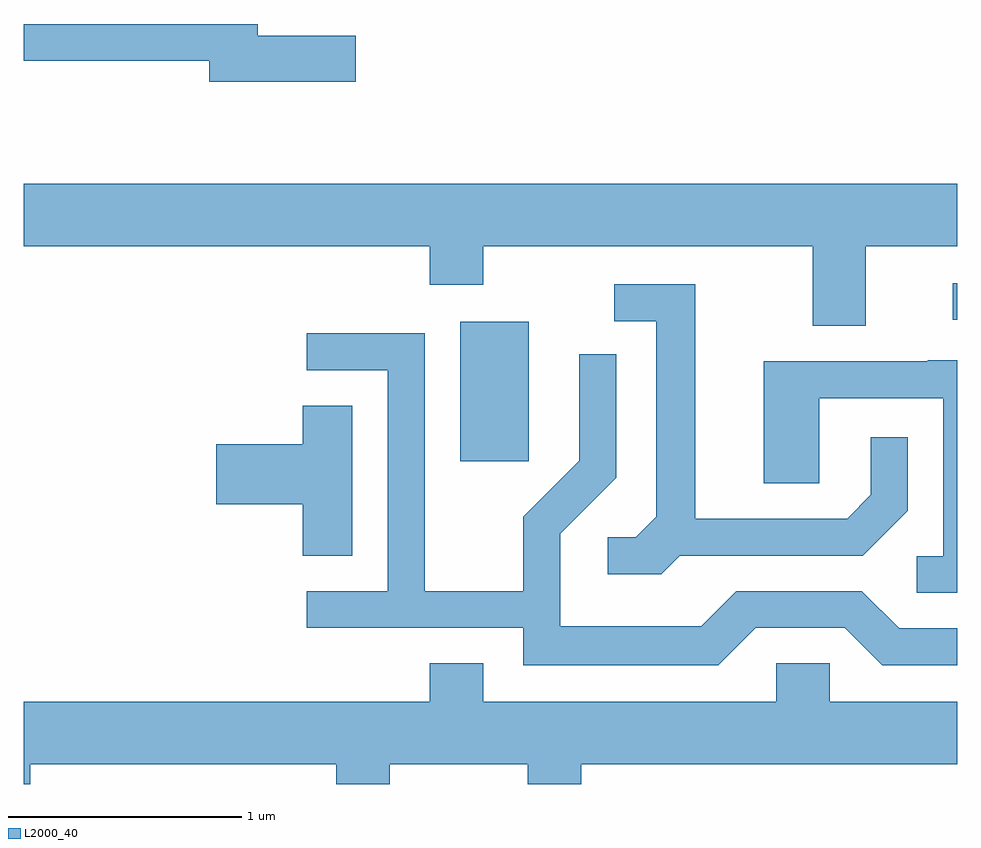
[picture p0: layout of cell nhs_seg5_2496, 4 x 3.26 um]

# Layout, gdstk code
import gdstk
lib = gdstk.Library(unit=1e-6, precision=1e-09)
def R(c, l, rs):  # rectangles x0, y0, x1, y1
    for r in rs: c.add(gdstk.rectangle(r[:2], r[2:], *l))
def P(c, l, *ps):  # polygons
    for p in ps: c.add(gdstk.Polygon(p, *l))
L2000_40 = (2000, 40)

nhs_seg5_2496 = lib.new_cell('nhs_seg5_2496')
R(nhs_seg5_2496, L2000_40, [(261.481,1431.456,261.774,1432.054), (263.593,1432.061,263.611,1432.219)])
P(nhs_seg5_2496, L2000_40, [(261.034,1433.279),(260.614,1433.279),(260.614,1433.329),(259.611,1433.329),(259.611,1433.171),(260.406,1433.171),(260.406,1433.081),(261.034,1433.081)],
  [(263.219,1432.376),(263.611,1432.376),(263.611,1432.644),(259.611,1432.644),(259.611,1432.376),(261.351,1432.376),(261.351,1432.211),(261.579,1432.211),(261.579,1432.376),(262.991,1432.376),(262.991,1432.036),(263.219,1432.036)],
  [(262.422,1431.051),(263.207,1431.051),(263.399,1431.244),(263.399,1431.558),(263.241,1431.558),(263.241,1431.312),(263.139,1431.209),(262.489,1431.209),(262.489,1432.214),(262.142,1432.214),(262.142,1432.056),(262.321,1432.056),(262.321,1431.217),(262.234,1431.129),(262.113,1431.129),(262.113,1430.971),(262.342,1430.971)],
  [(262.747,1430.741),(263.129,1430.741),(263.289,1430.581),(263.611,1430.581),(263.611,1430.739),(263.362,1430.739),(263.202,1430.899),(262.664,1430.899),(262.514,1430.749),(261.909,1430.749),(261.909,1431.144),(262.149,1431.384),(262.149,1431.913),(261.991,1431.913),(261.991,1431.457),(261.751,1431.217),(261.751,1430.899),(261.329,1430.899),(261.329,1432.004),(260.823,1432.004),(260.823,1431.846),(261.171,1431.846),(261.171,1430.899),(260.823,1430.899),(260.823,1430.741),(261.751,1430.741),(261.751,1430.581),(262.587,1430.581)],
  [(263.611,1431.889),(263.485,1431.889),(263.485,1431.884),(262.781,1431.884),(262.781,1431.361),(263.019,1431.361),(263.019,1431.726),(263.551,1431.726),(263.551,1431.049),(263.438,1431.049),(263.438,1430.891),(263.611,1430.891)],
  [(261.019,1431.694),(260.806,1431.694),(260.806,1431.529),(260.436,1431.529),(260.436,1431.271),(260.806,1431.271),(260.806,1431.051),(261.019,1431.051)],
  [(259.639,1430.156),(260.951,1430.156),(260.951,1430.072),(261.179,1430.072),(261.179,1430.156),(261.771,1430.156),(261.771,1430.072),(261.999,1430.072),(261.999,1430.156),(263.611,1430.156),(263.611,1430.424),(263.064,1430.424),(263.064,1430.589),(262.836,1430.589),(262.836,1430.424),(261.579,1430.424),(261.579,1430.589),(261.351,1430.589),(261.351,1430.424),(259.611,1430.424),(259.611,1430.072),(259.639,1430.072)])

lib.write_gds('nhs_seg5_2496.gds')
